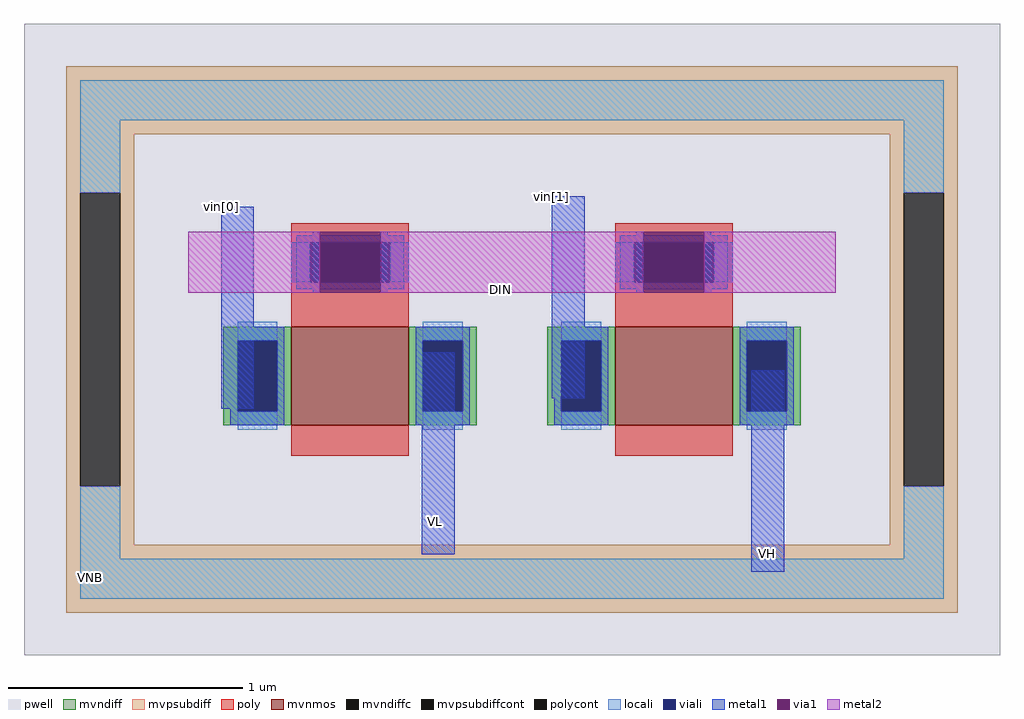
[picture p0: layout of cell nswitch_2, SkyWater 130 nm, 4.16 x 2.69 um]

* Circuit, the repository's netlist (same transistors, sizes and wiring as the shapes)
* NGSPICE file created from nswitch_2.ext - technology: sky130A

.subckt sky130_fd_pr__nfet_g5v0d10v5_NQHLCX a_n108_n73# a_50_n73# a_n50_n99# VSUBS
X0 a_50_n73# a_n50_n99# a_n108_n73# VSUBS sky130_fd_pr__nfet_g5v0d10v5 ad=0.1218 pd=1.42 as=0.1218 ps=1.42 w=0.42 l=0.5
.ends

.subckt hnmos_1 sky130_fd_pr__nfet_g5v0d10v5_NQHLCX_0/a_n108_n73# m1_65_142# VSUBS
+ sky130_fd_pr__nfet_g5v0d10v5_NQHLCX_0/a_50_n73#
Xsky130_fd_pr__nfet_g5v0d10v5_NQHLCX_0 sky130_fd_pr__nfet_g5v0d10v5_NQHLCX_0/a_n108_n73#
+ sky130_fd_pr__nfet_g5v0d10v5_NQHLCX_0/a_50_n73# m1_65_142# VSUBS sky130_fd_pr__nfet_g5v0d10v5_NQHLCX
.ends

.subckt hnmos_2 hnmos_1_1/m1_65_142# hnmos_1_1/sky130_fd_pr__nfet_g5v0d10v5_NQHLCX_0/a_50_n73#
+ hnmos_1_1/sky130_fd_pr__nfet_g5v0d10v5_NQHLCX_0/a_n108_n73# VSUBS hnmos_1_0/sky130_fd_pr__nfet_g5v0d10v5_NQHLCX_0/a_n108_n73#
+ hnmos_1_0/sky130_fd_pr__nfet_g5v0d10v5_NQHLCX_0/a_50_n73#
Xhnmos_1_0 hnmos_1_0/sky130_fd_pr__nfet_g5v0d10v5_NQHLCX_0/a_n108_n73# hnmos_1_1/m1_65_142#
+ VSUBS hnmos_1_0/sky130_fd_pr__nfet_g5v0d10v5_NQHLCX_0/a_50_n73# hnmos_1
Xhnmos_1_1 hnmos_1_1/sky130_fd_pr__nfet_g5v0d10v5_NQHLCX_0/a_n108_n73# hnmos_1_1/m1_65_142#
+ VSUBS hnmos_1_1/sky130_fd_pr__nfet_g5v0d10v5_NQHLCX_0/a_50_n73# hnmos_1
.ends

.subckt nswitch_2 vin[0] vin[1] DIN VH VL VNB
Xhnmos_2_0 DIN VH vin[1] VNB vin[0] VL hnmos_2
.ends

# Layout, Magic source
magic
tech sky130A
magscale 1 2
<< pwell >>
rect -150 -174 682 364
<< mvpsubdiff >>
rect -114 270 646 328
rect -114 220 -56 270
rect -114 -30 -102 220
rect -68 -30 -56 220
rect -114 -80 -56 -30
rect 588 220 646 270
rect 588 -30 600 220
rect 634 -30 646 220
rect 588 -80 646 -30
rect -114 -138 646 -80
<< mvpsubdiffcont >>
rect -102 -30 -68 220
rect 600 -30 634 220
<< locali >>
rect -102 282 634 316
rect -102 220 -68 282
rect -102 -92 -68 -30
rect 600 220 634 282
rect 600 -92 634 -30
rect -102 -126 634 -92
<< metal1 >>
rect 18 36 46 208
rect 189 -88 217 84
rect 300 45 328 217
rect 470 -103 498 69
use hnmos_2  hnmos_2_0
transform 1 0 -6 0 1 -5
box -4 1 548 199
<< labels >>
flabel metal1 s 18 208 18 208 4 FreeSans 480 0 0 0 vin[0]
port 0 se
flabel metal1 s 300 217 300 217 4 FreeSans 480 0 0 0 vin[1]
port 1 se
flabel metal2 s 256 138 256 138 4 FreeSans 480 0 0 0 DIN
port 2 se
flabel metal1 s 484 -87 484 -87 4 FreeSans 480 0 0 0 VH
port 3 se
flabel metal1 s 201 -60 201 -60 4 FreeSans 480 0 0 0 VL
port 4 se
flabel locali s -93 -108 -93 -108 4 FreeSans 480 0 0 0 VNB
port 5 se
<< end >>

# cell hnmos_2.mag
magic
tech sky130A
magscale 1 2
use hnmos_1  hnmos_1_0
transform 1 0 37 0 1 -2
box -41 3 235 201
use hnmos_1  hnmos_1_1
transform 1 0 313 0 1 -2
box -41 3 235 201
<< end >>

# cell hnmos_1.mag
magic
tech sky130A
magscale 1 2
<< metal1 >>
rect 65 142 71 194
rect 123 142 129 194
<< via1 >>
rect 71 142 123 194
<< metal2 >>
rect -41 142 71 194
rect 123 142 235 194
use sky130_fd_pr__nfet_g5v0d10v5_NQHLCX  sky130_fd_pr__nfet_g5v0d10v5_NQHLCX_0
transform 1 0 97 0 1 102
box -108 -99 108 99
<< end >>

# cell sky130_fd_pr__nfet_g5v0d10v5_NQHLCX: kit device sky130_fd_pr__nfet_g5v0d10v5, w 0.420 l 0.50 m 1 nf 1 diffcov 100 polycov 100 guard 0 glc 1 grc 1 gtc 1 gbc 1 tbcov 100 rlcov 100 topc 1 botc 0 poverlap 0 doverlap 1 lmin 0.50 wmin 0.42 compatible {sky130_fd_pr__nfet_01v8 sky130_fd_pr__nfet_01v8_lvt sky130_fd_bs_flash__special_sonosfet_star sky130_fd_pr__nfet_g5v0d10v5 sky130_fd_pr__nfet_05v0_nvt sky130_fd_pr__nfet_03v3_nvt} full_metal 1 viasrc 100 viadrn 100 viagate 100 viagb 0 viagr 0 viagl 0 viagt 0
